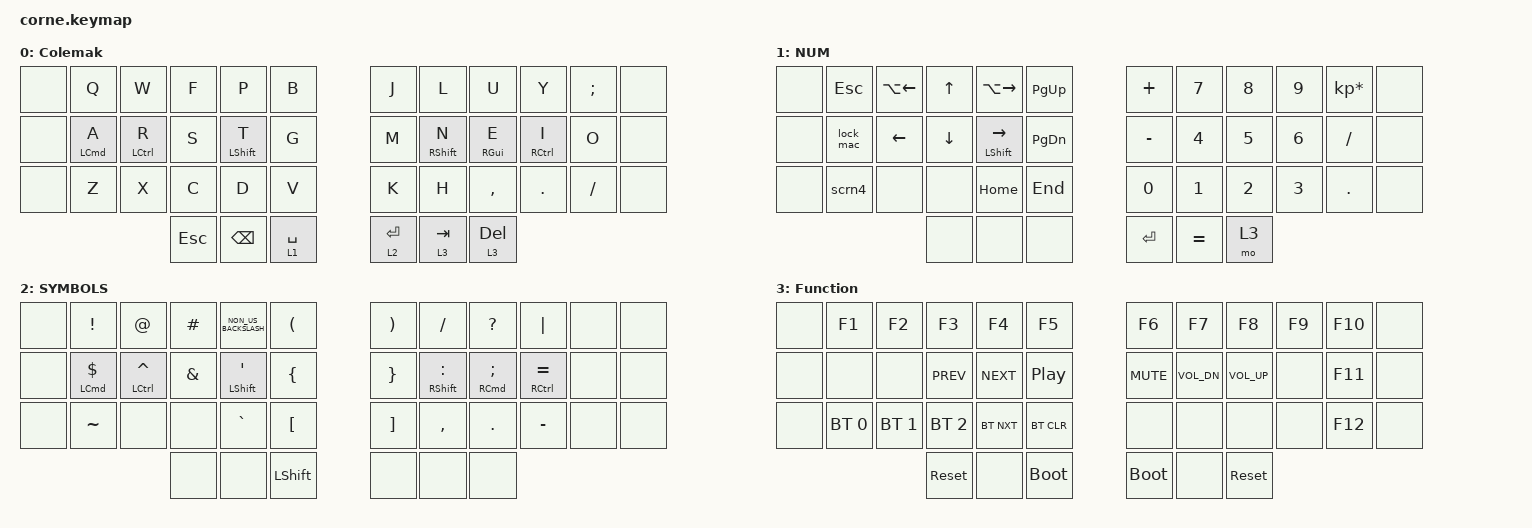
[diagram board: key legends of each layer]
#include <behaviors.dtsi>
#include <dt-bindings/zmk/bt.h>
#include <dt-bindings/zmk/keys.h>

&mt {
    tapping-term-ms = <250>;
    flavor = "tap-preferred";
};

&nice_view_spi { cs-gpios = <&pro_micro 1 GPIO_ACTIVE_HIGH>; };

/ {
    behaviors {
        hm: homerow_mods {
            compatible = "zmk,behavior-hold-tap";
            label = "HOMEROW_MODS";
            #binding-cells = <2>;
            tapping-term-ms = <300>;
            quick-tap-ms = <0>;
            flavor = "tap-preferred";
            bindings = <&kp>, <&kp>;
        };

        tdCtrlEsc: tdCtrlEsc {
            compatible = "zmk,behavior-tap-dance";
            label = "TDCTRLESC";
            #binding-cells = <0>;
            tapping-term-ms = <200>;
            bindings = <&macro_tap &kp LCTRL &kp LGUI &kp Q>;
        };
    };

    macros {
        lock_mac: lock_mac {
            compatible = "zmk,behavior-macro";
            #binding-cells = <0>;
            bindings =
                <&macro_press>,
                <&kp LCTRL>,
                <&macro_press>,
                <&kp LGUI>,
                <&macro_press>,
                <&kp Q>,
                <&macro_release>,
                <&kp LEFT_CONTROL>,
                <&macro_release>,
                <&kp LEFT_GUI>,
                <&macro_release>,
                <&kp Q>;

            label = "LOCK_MAC";
        };

        scrn3: scrn3 {
            compatible = "zmk,behavior-macro";
            #binding-cells = <0>;
            bindings =
                <&macro_press>,
                <&kp LSHIFT>,
                <&macro_press>,
                <&kp LEFT_CONTROL>,
                <&macro_press>,
                <&kp LEFT_GUI>,
                <&macro_press>,
                <&kp N3>,
                <&macro_release>,
                <&kp LEFT_SHIFT>,
                <&macro_release>,
                <&kp LEFT_CONTROL>,
                <&macro_release>,
                <&kp LEFT_GUI>,
                <&macro_release>,
                <&kp N3>;

            label = "SCRN3";
        };

        scrn4: scrn4 {
            compatible = "zmk,behavior-macro";
            #binding-cells = <0>;
            bindings =
                <&macro_press>,
                <&kp LSHIFT>,
                <&macro_press>,
                <&kp LEFT_CONTROL>,
                <&macro_press>,
                <&kp LEFT_GUI>,
                <&macro_press>,
                <&kp N4>,
                <&macro_release>,
                <&kp LEFT_SHIFT>,
                <&macro_release>,
                <&kp LEFT_CONTROL>,
                <&macro_release>,
                <&kp LEFT_GUI>,
                <&macro_release>,
                <&kp N4>;

            label = "SCRN4";
        };

        command_tab: command_tab {
            compatible = "zmk,behavior-macro";
            #binding-cells = <0>;
            bindings =
                <&macro_press>,
                <&kp LEFT_GUI>,
                <&macro_press>,
                <&kp TAB>,
                <&macro_release>,
                <&kp LEFT_GUI>,
                <&macro_release>,
                <&kp TAB>;

            label = "COMMAND_TAB";
        };

        clo: clo {
            compatible = "zmk,behavior-macro";
            #binding-cells = <0>;
            bindings = <&kp C &kp L &kp O>;
            label = "CLO";
        };

        vscode_terminal: vscode_terminal {
            compatible = "zmk,behavior-macro";
            #binding-cells = <0>;
            bindings =
                <&macro_press>,
                <&kp LCTRL>,
                <&macro_press>,
                <&kp GRAVE>,
                <&macro_release>,
                <&kp GRAVE>,
                <&macro_release>,
                <&kp LEFT_CONTROL>;

            label = "VSCODE_TERMINAL";
        };
    };

    combos {
        compatible = "zmk,combos";

        clo {
            bindings = <&clo>;
            key-positions = <6 7>;
        };

        vscode_term {
            bindings = <&vscode_terminal>;
            key-positions = <5 4>;
        };
    };

    keymap {
        compatible = "zmk,keymap";

        DEFAULT {
            bindings = <
&none  &kp Q               &kp W               &kp F    &kp P             &kp B          &kp J      &kp L              &kp U            &kp Y                &kp SEMI  &none
&none  &hm LEFT_COMMAND A  &hm LEFT_CONTROL R  &kp S    &hm LEFT_SHIFT T  &kp G          &kp M      &hm RIGHT_SHIFT N  &hm RIGHT_GUI E  &hm RIGHT_CONTROL I  &kp O     &none
&none  &kp Z               &kp X               &kp C    &kp D             &kp V          &kp K      &kp H              &kp COMMA        &kp DOT              &kp FSLH  &none
                                               &kp ESC  &kp BACKSPACE     &lt 1 SPACE    &lt 2 RET  &lt 3 TAB          &lt 3 DELETE
            >;

            label = "Colemak";
        };

        NUM {
            bindings = <
&none  &kp ESCAPE  &kp LA(LEFT)  &kp UP    &kp LA(RIGHT)         &kp PG_UP    &kp PLUS   &kp N7     &kp N8  &kp N9  &kp KP_MULTIPLY  &none
&none  &lock_mac   &kp LEFT      &kp DOWN  &hm LEFT_SHIFT RIGHT  &kp PG_DN    &kp MINUS  &kp N4     &kp N5  &kp N6  &kp SLASH        &none
&none  &scrn4      &none         &none     &kp HOME              &kp END      &kp N0     &kp N1     &kp N2  &kp N3  &kp DOT          &none
                                 &none     &none                 &none        &kp RET    &kp EQUAL  &mo 3
            >;

            label = "NUM";
        };

        SYMBOLS {
            bindings = <
&none  &kp EXCLAMATION          &kp AT_SIGN             &kp HASH       &kp NON_US_BACKSLASH  &kp LEFT_PARENTHESIS    &kp RIGHT_PARENTHESIS  &kp SLASH              &kp QUESTION                 &kp PIPE                 &none  &none
&none  &hm LEFT_COMMAND DOLLAR  &hm LEFT_CONTROL CARET  &kp AMPERSAND  &hm LEFT_SHIFT SQT    &kp LEFT_BRACE          &kp RIGHT_BRACE        &hm RIGHT_SHIFT COLON  &hm RIGHT_COMMAND SEMICOLON  &hm RIGHT_CONTROL EQUAL  &none  &none
&none  &kp TILDE                &none                   &none          &kp GRAVE             &kp LEFT_BRACKET        &kp RIGHT_BRACKET      &kp COMMA              &kp PERIOD                   &kp MINUS                &none  &none
                                                        &none          &none                 &kp LSHIFT              &none                  &none                  &none
            >;
        };

        FUNC {
            bindings = <
&none  &kp F1        &kp F2        &kp F3        &kp F4      &kp F5              &kp F6       &kp F7        &kp F8        &kp F9  &kp F10  &none
&none  &none         &none         &kp C_PREV    &kp C_NEXT  &kp C_PLAY_PAUSE    &kp C_MUTE   &kp C_VOL_DN  &kp C_VOL_UP  &none   &kp F11  &none
&none  &bt BT_SEL 0  &bt BT_SEL 1  &bt BT_SEL 2  &bt BT_NXT  &bt BT_CLR          &none        &none         &none         &none   &kp F12  &none
                                   &sys_reset    &none       &bootloader         &bootloader  &none         &sys_reset
            >;

            label = "Function";
        };
    };
};
